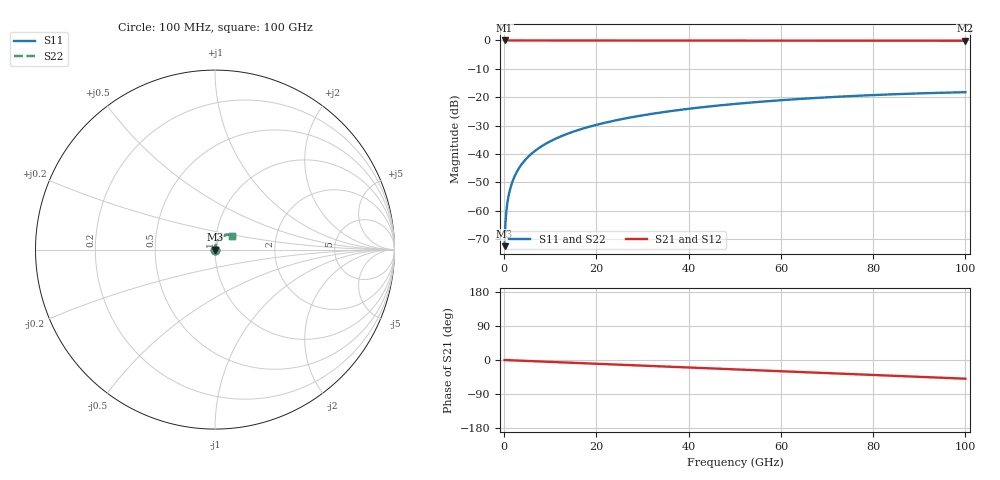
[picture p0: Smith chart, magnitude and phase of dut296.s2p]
! Touchstone file exported from HFSS 2026.1.0
!  File:  C:/ffzhzh/LocalFiles/Ansys_Project_Files/temp_train_TSV_296_1783509072_55944.aedt
!  Generated:  07:12:25 PM Jul  8, 2026
!  Design:  TSV
!  Project:  temp_train_TSV_296_1783509072_55944
! Variables:
!  h_bsmrdl = 2um
!  h_ox = 20um
!  h_rdl = 5um
!  h_sub = 95.7um
!  h_tmrdl = 5um
!  h_tsv = 95.7um
!  h_via = 3um
!  l_bsmrdl = 300um
!  l_sub = 423.7um
!  l_tmrdl = 200um
!  m_sub = 200um
!  pitch = 59.59um
!  r_tsv = 11.85um
!  s_tmrdl = 10um
!  w_bsmrdl = 18um
!  w_sub = 500um
!  w_tmrdl = 12um
!  x_tsv_center1 = 206um
!  x_tsv_center2 = 524um
!  x_tsv_center3 = 736um
!  x_tsv_center4 = 1054um
!  x_tsv_center5 = 1266um
!  x_tsv_center6 = 1584um
# GHz S MA R 50.000000
! Terminal data exported
! Port[1] = TSV1_1_T1
! Port[2] = TSV1_1_T2
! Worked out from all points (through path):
!   1000 points, 100 MHz to 100 GHz, reference 50 ohm
!   highest |S21| = 0.00 dB at 100 MHz (marker M1); lowest = -0.1 dB at 100 GHz (marker M2)
!   group delay of S21, straight-line fit = 1.37 ps
!   lowest |S11| = -72.5 dB at 100 MHz (marker M3), VSWR 1.00, Z = 50 + j0.021 ohm
!   |S11| at or under -10 dB: start of sweep to end of sweep
!   |S22| runs from -72.5 to -18.2 dB; largest |S21 - S12| = 3.7e-15
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0.1  0.0002369 62.4  0.9999 -0.1  0.9999 -0.1  0.0002369 62.4
! Gamma 0 0 0 0
! Port Impedance 50 0 50 0
0.3  0.0006316 76.6  0.9999 -0.2  0.9999 -0.2  0.0006316 76.6
0.7  0.001368 79.8  0.9998 -0.4  0.9998 -0.4  0.001368 79.8
0.8  0.001543 80.1  0.9997 -0.4  0.9997 -0.4  0.001543 80.1
1  0.001888 80.8  0.9997 -0.5  0.9997 -0.5  0.001888 80.8
1.3  0.002401 81.6  0.9997 -0.7  0.9997 -0.7  0.002401 81.6
1.8  0.00325 82.4  0.9996 -0.9  0.9996 -0.9  0.00325 82.4
2.3  0.004094 82.9  0.9996 -1.2  0.9996 -1.2  0.004094 82.9
3  0.005265 83.2  0.9995 -1.5  0.9995 -1.5  0.005265 83.2
3.8  0.006592 83.3  0.9994 -1.9  0.9994 -1.9  0.006592 83.3
4.8  0.008239 83.3  0.9993 -2.4  0.9993 -2.4  0.008239 83.3
6  0.0102 83.1  0.9993 -3.0  0.9993 -3.0  0.0102 83.1
8.8  0.01476 82.4  0.9991 -4.4  0.9991 -4.4  0.01476 82.4
12.4  0.02056 81.0  0.9988 -6.2  0.9988 -6.2  0.02056 81.0
16.8  0.02756 79.2  0.9984 -8.3  0.9984 -8.3  0.02756 79.2
24.2  0.03909 76.0  0.9978 -12.0  0.9978 -12.0  0.03909 76.0
33.4  0.05295 71.7  0.9969 -16.5  0.9969 -16.5  0.05295 71.7
41.2  0.06415 68.0  0.9961 -20.4  0.9961 -20.4  0.06415 68.0
50.1  0.07617 63.8  0.9951 -24.8  0.9951 -24.8  0.07617 63.8
66.7  0.09602 55.8  0.993 -32.9  0.993 -32.9  0.09602 55.8
83.4  0.1118 47.7  0.991 -41.2  0.991 -41.2  0.1118 47.8
100  0.1224 39.7  0.9893 -49.3  0.9893 -49.3  0.1224 39.8
